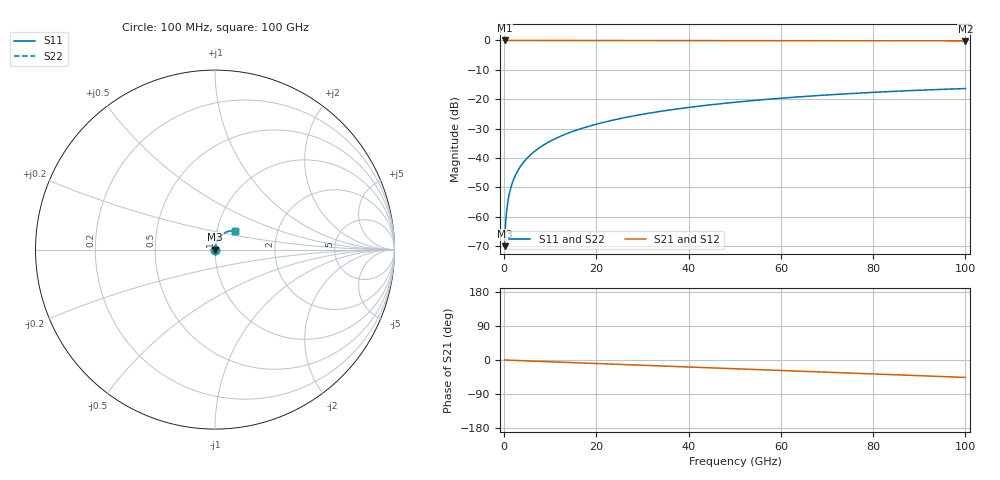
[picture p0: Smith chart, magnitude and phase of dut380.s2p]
! Touchstone file exported from HFSS 2026.1.0
!  File:  C:/ffzhzh/LocalFiles/Ansys_Project_Files/temp_train_TSV_380_1783510504_41296.aedt
!  Generated:  07:36:19 PM Jul  8, 2026
!  Design:  TSV
!  Project:  temp_train_TSV_380_1783510504_41296
! Variables:
!  h_bsmrdl = 2um
!  h_ox = 20um
!  h_rdl = 5um
!  h_sub = 91.65um
!  h_tmrdl = 5um
!  h_tsv = 91.65um
!  h_via = 3um
!  l_bsmrdl = 300um
!  l_sub = 415.66um
!  l_tmrdl = 200um
!  m_sub = 200um
!  pitch = 43.04um
!  r_tsv = 7.83um
!  s_tmrdl = 10um
!  w_bsmrdl = 18um
!  w_sub = 500um
!  w_tmrdl = 12um
!  x_tsv_center1 = 206um
!  x_tsv_center2 = 524um
!  x_tsv_center3 = 736um
!  x_tsv_center4 = 1054um
!  x_tsv_center5 = 1266um
!  x_tsv_center6 = 1584um
# GHz S MA R 50.000000
! Terminal data exported
! Port[1] = TSV1_1_T1
! Port[2] = TSV1_1_T2
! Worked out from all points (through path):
!   1000 points, 100 MHz to 100 GHz, reference 50 ohm
!   highest |S21| = 0.00 dB at 100 MHz (marker M1); lowest = -0.1 dB at 100 GHz (marker M2)
!   group delay of S21, straight-line fit = 1.27 ps
!   lowest |S11| = -70.0 dB at 100 MHz (marker M3), VSWR 1.00, Z = 50 + j0.0237 ohm
!   |S11| at or under -10 dB: start of sweep to end of sweep
!   |S22| runs from -70.0 to -16.4 dB; largest |S21 - S12| = 4.2e-15
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0.1  0.0003147 48.8  0.9998 -0.0  0.9998 -0.0  0.0003147 48.8
! Gamma 0 0 0 0
! Port Impedance 50 0 50 0
0.4  0.0009521 73.9  0.9997 -0.2  0.9997 -0.2  0.0009521 73.9
0.7  0.001582 77.9  0.9997 -0.3  0.9997 -0.3  0.001582 77.9
0.8  0.001788 78.7  0.9997 -0.4  0.9997 -0.4  0.001788 78.7
1  0.002196 79.7  0.9996 -0.5  0.9996 -0.5  0.002196 79.7
1.3  0.002802 80.8  0.9996 -0.6  0.9996 -0.6  0.002802 80.8
1.7  0.003601 81.5  0.9995 -0.8  0.9995 -0.8  0.003601 81.5
2.3  0.00478 82.1  0.9994 -1.1  0.9994 -1.1  0.00478 82.1
3  0.006132 82.4  0.9993 -1.4  0.9993 -1.4  0.006132 82.4
3.8  0.007658 82.6  0.9992 -1.8  0.9992 -1.8  0.007658 82.6
4.8  0.009551 82.7  0.9991 -2.3  0.9991 -2.3  0.009551 82.7
6  0.01181 82.7  0.999 -2.8  0.999 -2.8  0.01181 82.7
8.8  0.01705 82.1  0.9987 -4.1  0.9987 -4.1  0.01705 82.1
12.4  0.02372 80.9  0.9984 -5.8  0.9984 -5.8  0.02372 80.9
16.8  0.03177 79.3  0.9979 -7.8  0.9979 -7.8  0.03177 79.3
24.2  0.0451 76.4  0.9971 -11.3  0.9971 -11.3  0.0451 76.4
33.4  0.06123 72.5  0.9959 -15.5  0.9959 -15.5  0.06123 72.5
41.2  0.07442 69.1  0.9948 -19.1  0.9948 -19.1  0.07442 69.1
50.1  0.08881 65.1  0.9934 -23.2  0.9934 -23.2  0.08881 65.1
66.7  0.1135 57.8  0.9905 -30.8  0.9905 -30.8  0.1135 57.8
83.4  0.1348 50.3  0.9875 -38.4  0.9875 -38.4  0.1348 50.3
100  0.1518 42.9  0.9846 -45.9  0.9846 -45.9  0.1518 42.9
